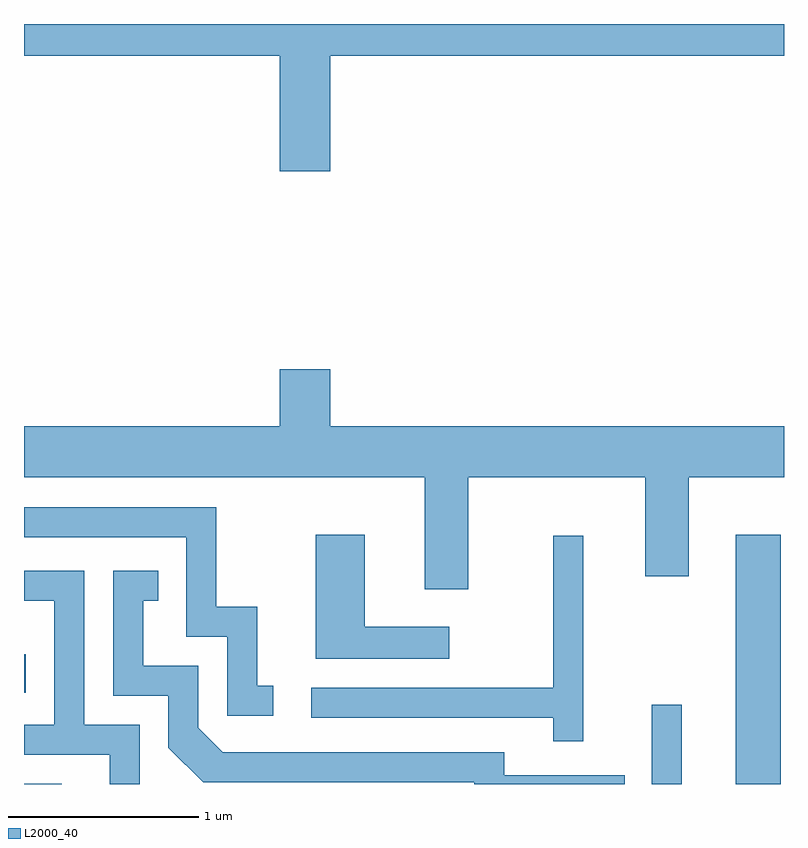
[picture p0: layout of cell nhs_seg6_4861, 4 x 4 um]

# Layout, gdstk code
import gdstk
lib = gdstk.Library(unit=1e-6, precision=1e-09)
def R(c, l, rs):  # rectangles x0, y0, x1, y1
    for r in rs: c.add(gdstk.rectangle(r[:2], r[2:], *l))
def P(c, l, *ps):  # polygons
    for p in ps: c.add(gdstk.Polygon(p, *l))
L2000_40 = (2000, 40)

nhs_seg6_4861 = lib.new_cell('nhs_seg6_4861')
R(nhs_seg6_4861, L2000_40, [(333.611,1586.162,333.809,1586.164), (336.916,1586.162,337.074,1586.578), (337.356,1586.162,337.594,1587.474), (333.611,1586.641,333.619,1586.844)])
P(nhs_seg6_4861, L2000_40, [(335.224,1589.996),(337.611,1589.996),(337.611,1590.162),(333.611,1590.162),(333.611,1589.996),(334.956,1589.996),(334.956,1589.386),(335.224,1589.386)],
  [(335.949,1587.776),(336.881,1587.776),(336.881,1587.256),(337.109,1587.256),(337.109,1587.776),(337.611,1587.776),(337.611,1588.044),(335.224,1588.044),(335.224,1588.344),(334.956,1588.344),(334.956,1588.044),(333.611,1588.044),(333.611,1587.776),(335.721,1587.776),(335.721,1587.186),(335.949,1587.186)],
  [(334.923,1586.679),(334.839,1586.679),(334.839,1587.094),(334.624,1587.094),(334.624,1587.619),(333.611,1587.619),(333.611,1587.461),(334.466,1587.461),(334.466,1586.936),(334.681,1586.936),(334.681,1586.521),(334.923,1586.521)],
  [(335.848,1586.989),(335.404,1586.989),(335.404,1587.474),(335.146,1587.474),(335.146,1586.821),(335.848,1586.821)],
  [(336.554,1587.468),(336.396,1587.468),(336.396,1586.669),(335.123,1586.669),(335.123,1586.511),(336.396,1586.511),(336.396,1586.388),(336.554,1586.388)],
  [(334.219,1586.474),(333.929,1586.474),(333.929,1587.284),(333.611,1587.284),(333.611,1587.126),(333.771,1587.126),(333.771,1586.474),(333.611,1586.474),(333.611,1586.316),(334.061,1586.316),(334.061,1586.162),(334.219,1586.162)],
  [(336.773,1586.209),(336.139,1586.209),(336.139,1586.329),(334.657,1586.329),(334.529,1586.457),(334.529,1586.784),(334.239,1586.784),(334.239,1587.126),(334.318,1587.126),(334.318,1587.284),(334.081,1587.284),(334.081,1586.626),(334.371,1586.626),(334.371,1586.354),(334.554,1586.171),(335.981,1586.171),(335.981,1586.162),(336.773,1586.162)])

lib.write_gds('nhs_seg6_4861.gds')
